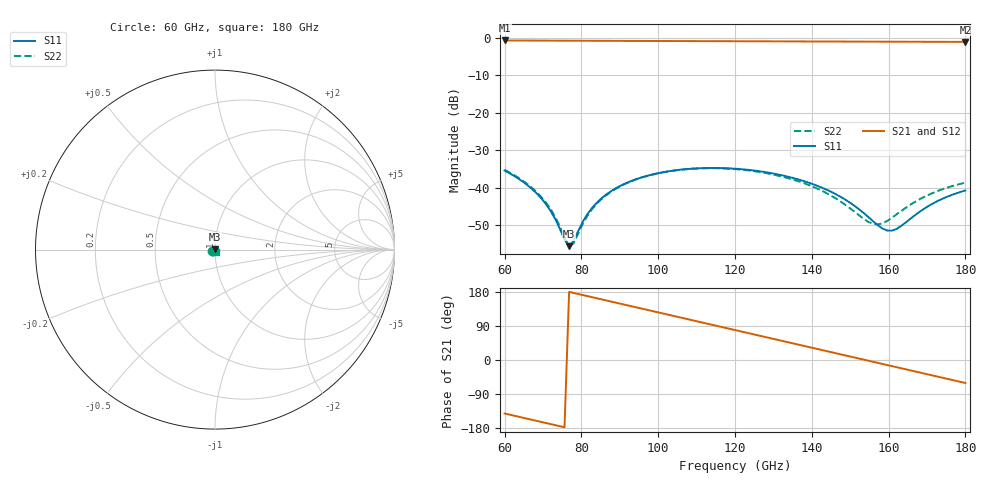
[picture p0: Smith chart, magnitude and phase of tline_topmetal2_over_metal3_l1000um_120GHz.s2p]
#  GHZ S DB R 50
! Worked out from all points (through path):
!   101 points, 60 GHz to 180 GHz, reference 50 ohm
!   highest |S21| = -0.64 dB at 60 GHz (marker M1); lowest = -1.0 dB at 180 GHz (marker M2)
!   group delay of S21, straight-line fit = 6.47 ps
!   lowest |S11| = -55.6 dB at 76.8 GHz (marker M3), VSWR 1.00, Z = 50 + j0.166 ohm
!   |S11| at or under -10 dB: start of sweep to end of sweep
!   |S22| runs from -55.6 to -34.8 dB; largest |S21 - S12| = 1.6e-14
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60  -35.42 -144.1  -0.64 -141.2  -0.64 -141.2  -35.23 -144.0
64.8  -38.43 -159.0  -0.66 -152.4  -0.66 -152.4  -38.18 -158.8
69.6  -42.89 -177.0  -0.68 -163.6  -0.68 -163.6  -42.52 -176.4
73.2  -48.38 161.1  -0.69 -171.9  -0.69 -171.9  -47.82 163.2
75.6  -53.90 125.5  -0.70 -177.5  -0.70 -177.5  -53.30 131.7
76.8  -55.62 89.0  -0.71 179.7  -0.71 179.7  -55.62 97.9
78  -54.18 52.1  -0.71 176.9  -0.71 176.9  -54.84 58.2
80.4  -49.01 15.7  -0.72 171.3  -0.72 171.3  -49.53 17.0
84  -44.01 -6.4  -0.73 162.9  -0.73 162.9  -44.26 -6.3
87.6  -41.00 -20.5  -0.74 154.5  -0.74 154.5  -41.14 -20.5
93.6  -37.96 -39.7  -0.76 140.5  -0.76 140.5  -38.02 -39.8
100.8  -35.95 -60.7  -0.79 123.8  -0.79 123.8  -35.98 -60.8
110.4  -34.82 -87.9  -0.82 101.4  -0.82 101.4  -34.85 -87.9
120  -34.92 -115.0  -0.85 79.0  -0.85 79.0  -35.02 -115.1
129.6  -36.13 -142.9  -0.88 56.7  -0.88 56.7  -36.40 -143.3
140.4  -39.09 -176.6  -0.91 31.5  -0.91 31.5  -39.77 -178.7
148.8  -43.23 151.4  -0.94 12.0  -0.94 12.0  -44.61 143.5
156  -48.98 105.8  -0.96 -4.8  -0.96 -4.8  -49.68 77.2
158.4  -50.90 78.9  -0.96 -10.4  -0.96 -10.4  -49.51 45.8
160.8  -51.48 45.3  -0.97 -16.0  -0.97 -16.0  -48.08 19.2
170.4  -44.88 -38.3  -1.00 -38.4  -1.00 -38.4  -41.90 -38.6
180  -40.73 -76.6  -1.02 -60.7  -1.02 -60.7  -38.66 -73.1
